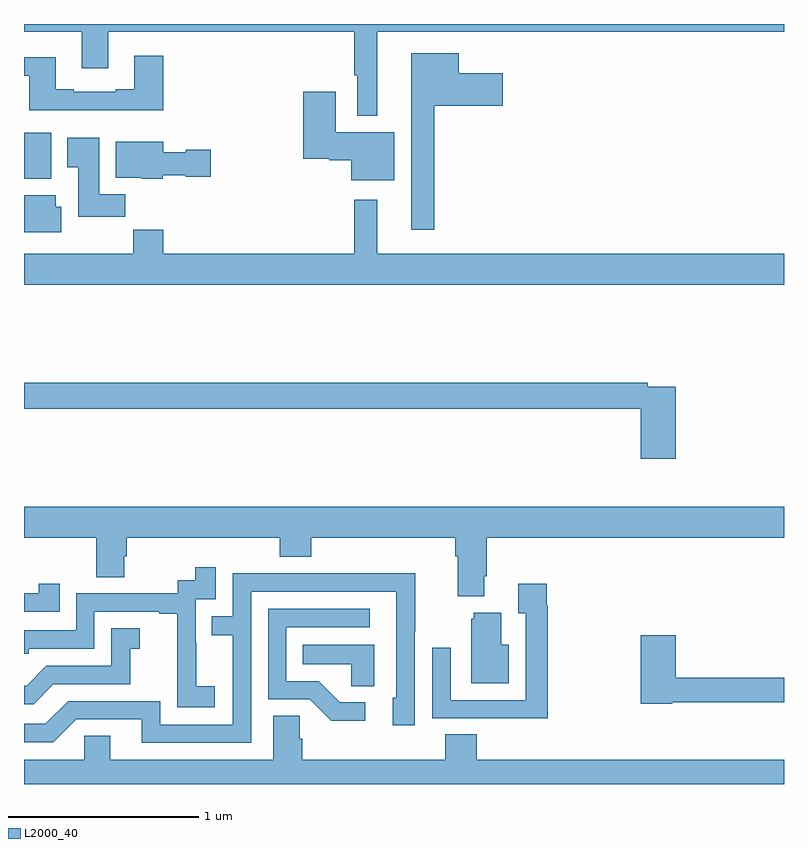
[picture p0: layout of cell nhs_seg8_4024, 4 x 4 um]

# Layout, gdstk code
import gdstk
lib = gdstk.Library(unit=1e-6, precision=1e-09)
def R(c, l, rs):  # rectangles x0, y0, x1, y1
    for r in rs: c.add(gdstk.rectangle(r[:2], r[2:], *l))
def P(c, l, *ps):  # polygons
    for p in ps: c.add(gdstk.Polygon(p, *l))
L2000_40 = (2000, 40)

nhs_seg8_4024 = lib.new_cell('nhs_seg8_4024')
R(nhs_seg8_4024, L2000_40, [(359,1089.086,359.143,1089.328)])
P(nhs_seg8_4024, L2000_40, [(360.859,1089.86),(363,1089.86),(363,1089.9),(359,1089.9),(359,1089.86),(359.303,1089.86),(359.303,1089.666),(359.443,1089.666),(359.443,1089.86),(360.738,1089.86),(360.738,1089.631),(360.755,1089.631),(360.755,1089.416),(360.859,1089.416)],
  [(361.159,1089.47),(361.519,1089.47),(361.519,1089.64),(361.288,1089.64),(361.288,1089.745),(361.037,1089.745),(361.037,1088.817),(361.159,1088.817)],
  [(359.732,1089.733),(359.579,1089.733),(359.579,1089.556),(359.483,1089.556),(359.483,1089.543),(359.263,1089.543),(359.263,1089.556),(359.167,1089.556),(359.167,1089.724),(359,1089.724),(359,1089.627),(359.027,1089.627),(359.027,1089.446),(359.732,1089.446)],
  [(360.949,1089.331),(360.64,1089.331),(360.64,1089.544),(360.47,1089.544),(360.47,1089.191),(360.606,1089.191),(360.606,1089.184),(360.722,1089.184),(360.722,1089.077),(360.949,1089.077)],
  [(359.534,1089.004),(359.395,1089.004),(359.395,1089.301),(359.228,1089.301),(359.228,1089.145),(359.285,1089.145),(359.285,1088.886),(359.534,1088.886)],
  [(359.73,1089.104),(359.85,1089.104),(359.85,1089.097),(359.983,1089.097),(359.983,1089.239),(359.85,1089.239),(359.85,1089.226),(359.734,1089.226),(359.734,1089.28),(359.483,1089.28),(359.483,1089.092),(359.616,1089.092),(359.616,1089.086),(359.73,1089.086)],
  [(359.197,1088.939),(359.167,1088.939),(359.167,1088.998),(359,1088.998),(359,1088.804),(359.197,1088.804)],
  [(363,1088.692),(360.859,1088.692),(360.859,1088.974),(360.738,1088.974),(360.738,1088.692),(359.732,1088.692),(359.732,1088.816),(359.575,1088.816),(359.575,1088.692),(359,1088.692),(359,1088.528),(363,1088.528)],
  [(362.429,1087.992),(362.282,1087.992),(362.282,1088.012),(359,1088.012),(359,1087.876),(362.246,1087.876),(362.246,1087.611),(362.429,1087.611)],
  [(361.423,1086.994),(361.436,1086.994),(361.436,1087.196),(363,1087.196),(363,1087.36),(359,1087.36),(359,1087.196),(359.38,1087.196),(359.38,1086.988),(359.527,1086.988),(359.527,1087.098),(359.54,1087.098),(359.54,1087.196),(360.347,1087.196),(360.347,1087.097),(360.512,1087.097),(360.512,1087.196),(361.271,1087.196),(361.271,1087.1),(361.283,1087.1),(361.283,1086.887),(361.423,1086.887)],
  [(360.004,1086.415),(359.906,1086.415),(359.906,1086.644),(359.904,1086.644),(359.904,1086.873),(360.009,1086.873),(360.009,1087.042),(359.901,1087.042),(359.901,1086.972),(359.808,1086.972),(359.808,1086.903),(359.274,1086.903),(359.274,1086.708),(359,1086.708),(359,1086.585),(359.025,1086.585),(359.025,1086.612),(359.37,1086.612),(359.37,1086.807),(359.711,1086.807),(359.711,1086.795),(359.807,1086.795),(359.807,1086.511),(359.806,1086.511),(359.806,1086.305),(360.004,1086.305)],
  [(360.195,1086.912),(360.96,1086.912),(360.96,1086.354),(360.941,1086.354),(360.941,1086.21),(361.056,1086.21),(361.056,1086.703),(361.059,1086.703),(361.059,1087.01),(360.595,1087.01),(360.595,1087.008),(360.099,1087.008),(360.099,1086.783),(359.989,1086.783),(359.989,1086.682),(360.099,1086.682),(360.099,1086.213),(359.718,1086.213),(359.718,1086.336),(359.232,1086.336),(359.112,1086.216),(359,1086.216),(359,1086.12),(359.154,1086.12),(359.274,1086.24),(359.621,1086.24),(359.621,1086.117),(360.195,1086.117)],
  [(361.757,1086.842),(361.75,1086.842),(361.75,1086.955),(361.601,1086.955),(361.601,1086.799),(361.641,1086.799),(361.641,1086.342),(361.245,1086.342),(361.245,1086.616),(361.149,1086.616),(361.149,1086.246),(361.465,1086.246),(361.465,1086.245),(361.757,1086.245)],
  [(359.189,1086.955),(359.078,1086.955),(359.078,1086.903),(359,1086.903),(359,1086.807),(359.189,1086.807)],
  [(360.796,1086.33),(360.661,1086.33),(360.55,1086.441),(360.381,1086.441),(360.381,1086.726),(360.82,1086.726),(360.82,1086.822),(360.285,1086.822),(360.285,1086.345),(360.504,1086.345),(360.617,1086.233),(360.796,1086.233)],
  [(361.552,1086.634),(361.513,1086.634),(361.513,1086.802),(361.367,1086.802),(361.367,1086.771),(361.355,1086.771),(361.355,1086.431),(361.552,1086.431)],
  [(359.155,1086.426),(359.559,1086.426),(359.559,1086.611),(359.608,1086.611),(359.608,1086.721),(359.46,1086.721),(359.46,1086.522),(359.118,1086.522),(359.014,1086.418),(359,1086.418),(359,1086.321),(359.05,1086.321)],
  [(362.412,1086.33),(363,1086.33),(363,1086.458),(362.429,1086.458),(362.429,1086.682),(362.246,1086.682),(362.246,1086.322),(362.412,1086.322)],
  [(360.844,1086.634),(360.466,1086.634),(360.466,1086.53),(360.723,1086.53),(360.723,1086.415),(360.844,1086.415)],
  [(363,1086.028),(361.382,1086.028),(361.382,1086.161),(361.217,1086.161),(361.217,1086.028),(360.464,1086.028),(360.464,1086.137),(360.45,1086.137),(360.45,1086.26),(360.311,1086.26),(360.311,1086.028),(359.455,1086.028),(359.455,1086.155),(359.316,1086.155),(359.316,1086.028),(359,1086.028),(359,1085.9),(363,1085.9)])

lib.write_gds('nhs_seg8_4024.gds')
